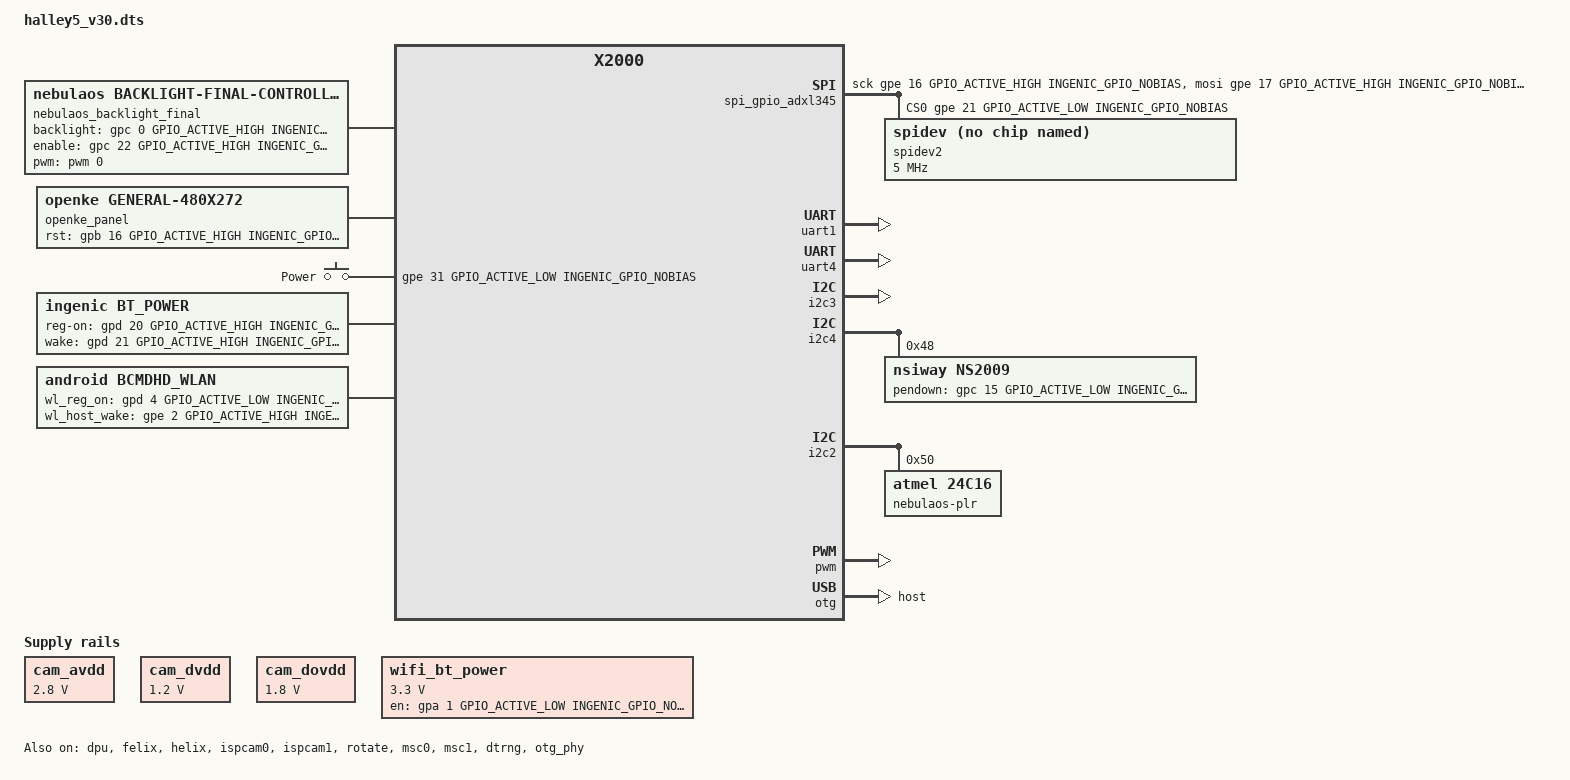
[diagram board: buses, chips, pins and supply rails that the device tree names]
/dts-v1/;

#include <dt-bindings/input/input.h>
#include "x2000.dtsi"
#include <dt-bindings/interrupt-controller/irq.h>
#include <generated/autoconf.h>

#ifdef  CONFIG_RD_X2000_HALLEY5_CAMERA_2V1
#include "halley5_cameras/RD_X2000_HALLEY5_CAMERA_2V1.dtsi"
#elif CONFIG_RD_X2000_HALLEY5_CAMERA_3V2
#ifdef CONFIG_OV4689_1080P_120FPS
#include "halley5_cameras/RD_X2000_HALLEY5_CAMERA_3V2_4LANE.dtsi"
#else
#include "halley5_cameras/RD_X2000_HALLEY5_CAMERA_3V2.dtsi"
#endif
#elif CONFIG_RD_X2000_HALLEY5_CAMERA_4V2
#include "halley5_cameras/RD_X2000_HALLEY5_CAMERA_4V2.dtsi"
#elif CONFIG_RD_X2000_HALLEY5_CAMERA_4V3
#include "halley5_cameras/RD_X2000_HALLEY5_CAMERA_4V3.dtsi"
#elif CONFIG_RD_X2000_HALLEY5_CAMERA_5V0
#include "halley5_cameras/RD_X2000_HALLEY5_CAMERA_5V0.dtsi"
#elif CONFIG_RD_X2000_HALLEY5_CAMERA_6V0
#include "halley5_cameras/RD_X2000_HALLEY5_CAMERA_6V0.dtsi"
#elif CONFIG_RD_X2000_HALLEY5_CAMERA_7V0
#include "halley5_cameras/RD_X2000_HALLEY5_CAMERA_7V0.dtsi"
#elif CONFIG_RD_X2000_HALLEY5_CAMERA_CIM
#include "halley5_cameras/RD_X2000_HALLEY5_CAMERA_cim.dtsi"
#elif CONFIG_HALLEY5_CAMERA_BOARDS_AUTO_MATCH
#include "halley5_cameras/X2000_HALLEY5_CAMERA.dtsi"
#endif

#ifdef CONFIG_STAGE_FW050
#include "halley5_lcd/HALLEY5_MIPI_LCD_FW050.dtsi"
#endif
#ifdef CONFIG_STAGE_ZC50289HSHD02
#include "halley5_lcd/HALLEY5_MIPI_LCD_ZC50289HSHD02.dtsi"
#endif

/ {
	compatible = "ingenic,halley5", "ingenic,x2000";

	reserved-memory {
		#address-cells = <1>;
		#size-cells = <1>;
		ranges =<>;

		reserved_memory: reserved_mem@6000000{
		      compatible = "shared-dma-pool";
		      /* NebulaOS MEM-T01: all memory-region users (felix/helix/
		       * ispcam0/1/rotate) are compiled out (VIDEO_INGENIC_ISP/
		       * ROTATE/VCODEC unset); dpu uses dma_alloc_coherent from the
		       * buddy allocator. A disabled node is skipped by
		       * fdt_scan_reserved_mem() (drivers/of/fdt.c). Re-enable
		       * together with any of those drivers. */
		      status = "disabled";
		      reg-64M = <0x03000000 0x1000000>;
		      reg-128M = <0x06000000 0x2000000>;
		      reg-256M = <0x0e000000 0x2000000>;
		};
	};

		  cam_avdd: cam_regulator_avdd {
			  compatible = "regulator-fixed";
			  regulator-name = "cam_avdd";
			  regulator-min-microvolt = <2800000>;
			  regulator-max-microvolt = <2800000>;
			  regulator-always-on;
			  regulator-boot-on;
		  };
		  cam_dvdd: cam_regulator_dvdd {
			  compatible = "regulator-fixed";
			  regulator-name = "cam_dvdd";
			  regulator-min-microvolt = <1200000>;
			  regulator-max-microvolt = <1200000>;
			  regulator-always-on;
			  regulator-boot-on;
		  };
		  cam_dovdd: cam_regulator_dovdd {
			   compatible = "regulator-fixed";
			   regulator-name = "cam_dovdd";
			   regulator-min-microvolt = <1800000>;
			   regulator-max-microvolt = <1800000>;
			   regulator-always-on;
			   regulator-boot-on;
		  };

		  /* OpenKE (2026-07-22, FIRMWARE.md sec 44): 3 real GPIO-based fixes in a row
		   * (wrong pin -> wrong polarity -> pin stolen by uart4's over-wide mux group)
		   * all left "mmc1: Failed to initialize a non-removable card" byte-identical -
		   * the card never responds at all, at any frequency. Reconsidered the model
		   * itself rather than tuning gpio values further: PA01 (wifi_power_on) is a
		   * shared COMBO-CHIP POWER RAIL per stock's own insmod scripts (soc_msc.sh/
		   * cywdhd.sh - same gpio referenced by both the mmc host module AND the
		   * separate wlan chip module), not a per-card reset/wake line the way gpd4
		   * (WL_REG_ON) is. mmc-pwrseq-simple's reset-gpios models ONE reset concept
		   * toggled as a single unit with one shared delay - it can't express "this
		   * rail needs its own independent ramp-up window before the reset line even
		   * starts toggling". Modeled as its own regulator instead, wired as msc1's
		   * vmmc-supply - a real, actively-checked property in this exact driver
		   * (confirmed: ingenic,sdhci already prints "No vmmc regulator found" when
		   * absent, meaning mmc_regulator_get_supply() is real and already wired into
		   * this SDHCI-ingenic build, not hypothetical). regulator-always-on +
		   * -boot-on (same pattern already used by cam_avdd/cam_dvdd/cam_dovdd above)
		   * gets this GPIO driven to its enabled state at the regulator subsystem's
		   * own early probe, well before mmc1 ever probes - decoupled from pwrseq's
		   * post_power_on delay entirely, since a shared rail's real settling time has
		   * nothing to do with any individual card's reset sequencing. */
		  /* OpenKE (2026-07-22, FIRMWARE.md sec 52): a LIVE read of PA01 on the
		   * real, currently-working, currently-associated stock system -
		   * /sys/kernel/debug/gpio, "gpio-1 (|bt_wifi_power) out lo" - shows raw
		   * LOW during real, active WiFi traffic. This directly confirms
		   * bt_wifi_power_valid_level=0 (cywdhd.ko's own insmod parameter,
		   * always available but never previously verified against a live
		   * read): raw LOW is the real enabled state for this shared rail, not
		   * raw HIGH as GPIO_ACTIVE_HIGH + regulator-always-on/-boot-on below
		   * assumed - the same class of unverified-polarity mistake sec 50 found
		   * and fixed for WL_REG_ON, on the OTHER real GPIO this investigation
		   * has touched, discovered by finally checking stock's own live state
		   * directly instead of inferring from a module-parameter name.
		   * enable-active-high below was always a no-op on this kernel's
		   * drivers/regulator/fixed.c - of_get_fixed_voltage_config() never
		   * reads it, only the gpio cell's own active-flag controls polarity -
		   * removed along with the fix so nothing misleading is left behind. */
		  wifi_bt_power: wifi_bt_power_regulator {
			   compatible = "regulator-fixed";
			   regulator-name = "wifi_bt_power";
			   regulator-min-microvolt = <3300000>;
			   regulator-max-microvolt = <3300000>;
			   gpio = <&gpa 1 GPIO_ACTIVE_LOW INGENIC_GPIO_NOBIAS>;
			   regulator-always-on;
			   regulator-boot-on;
		  };

	/* Post-incident backlight controller redesign (2026-08-02+) -
	 * DISPLAY-B-FINAL kernel-owned exclusive owner of GPC0 (as GPIO
	 * and as PWM channel 0's peripheral function) and the candidate
	 * enable-GPIO PC22. Deliberately does NOT touch the &pwm node's
	 * own pinctrl-0 above (that edit is what caused a real incident -
	 * see nebulaos_backlight_final_controller.c's file header). GPC0's
	 * PWM-function pinmux is instead selected dynamically, only by
	 * this driver's own code, only at the moment pwm-active is
	 * actually entered - the pinctrl-0 group below is named
	 * "pwm-active", deliberately not "default"/"init", so the
	 * device core's automatic pinctrl_bind_pins() never selects it. */
	nebulaos_backlight_final: nebulaos_backlight_final {
		compatible = "nebulaos,backlight-final-controller";
		pwms = <&pwm 0 20000>;
		backlight-gpios = <&gpc 0 GPIO_ACTIVE_HIGH INGENIC_GPIO_NOBIAS>;
		enable-gpios = <&gpc 22 GPIO_ACTIVE_HIGH INGENIC_GPIO_NOBIAS>;
		pinctrl-names = "pwm-active";
		pinctrl-0 = <&pwm0_pc>;
		status = "okay";
	};

	/* Phase 1.9A host-MCU accelerometer/EEPROM bus enablement:
	 * ADXL345 (spi_bus: spidev2.0 in printer.cfg) is NOT wired to a real
	 * Ingenic hardware SPI controller on this board at all - pulled and
	 * decoded the real stock device's own live /sys/firmware/fdt and found
	 * stock reaches it through the standard mainline spi-gpio bitbang
	 * driver instead, with a generic spidev placeholder child exposing it
	 * as a plain character device (exactly what Klipper's own MCU SPI
	 * backend expects - it talks to the sensor directly, no in-kernel
	 * ADXL345 driver needed). GPIO pin assignments (gpe16/17/18/21) and the
	 * "rohm,dh2228fv" placeholder compatible string are copied verbatim
	 * from that same live dump, not guessed. Requires CONFIG_SPI_GPIO=y. */
	aliases {
		/* Pins this bit-banged bus to bus number 2, exactly matching
		 * stock's own "spi2 = /spi_gpio" alias - without this, Linux
		 * would assign whatever bus number registration order happens
		 * to produce, and Klipper's spi_bus: spidev2.0 (hardcoded to
		 * this exact path) would not find the device.
		 *
		 * Deliberately named spi_gpio_adxl345, NOT spi_gpio: this base
		 * board file already has an unrelated, pre-existing, disabled
		 * "/spi_gpio" node further down (gpb 28-31, spidev1@0 - the
		 * already-documented FACTORY_TEST_DEVICE placeholder). A node
		 * declared here with that same bare name would silently merge
		 * with it instead of creating a separate node (found live: our
		 * first attempt at this had its pin numbers and status
		 * overwritten by that later block). The alias only cares where
		 * it points, not what the node is named, so giving this one
		 * its own distinct name avoids the collision entirely without
		 * touching the untouched, already-disabled factory node. */
		spi2 = "/spi_gpio_adxl345";
	};

	spi_gpio_adxl345 {
		status = "okay";
		compatible = "spi-gpio";
		#address-cells = <1>;
		#size-cells = <0>;
		/* This SoC's ingenic,pincfg-cells binding is 3 cells after the
		 * phandle (pin, flags, pull-config) - found live via a dtc
		 * "property size too small for cell size 3" warning on an
		 * earlier attempt, which only had 2.
		 *
		 * Polarity fix (Phase 1.9A SPI Polarity Fix Investigation):
		 * stock's raw live-dumped values used flags=0x01
		 * (GPIO_ACTIVE_LOW) on ALL FOUR lines, copied verbatim into an
		 * earlier attempt here - that produced device probe success
		 * (spidev2.0 exists, transactions happen) but garbled reads
		 * (ACCELEROMETER_QUERY: "Invalid adxl345 id", wrong DEVID,
		 * changing with speed rather than a clean timeout).
		 * Source-verified root cause: this kernel's spi-gpio.c
		 * (drivers/spi/spi-gpio.c, the modern Linus Walleij gpiod
		 * rewrite) calls gpiod_set_value_cansleep()/
		 * gpiod_get_value_cansleep() for sck/mosi/miso exactly the
		 * same way it does for cs - meaning ANY of the four declared
		 * GPIO_ACTIVE_LOW gets transparently inverted by gpiod before
		 * the bitbang core (spi-bitbang-txrx.h) ever sees it. The
		 * bitbang core assumes non-inverted 1=high/0=low semantics
		 * for the clock and data lines - stock's raw flags value was
		 * almost certainly written for an older, non-gpiod (raw
		 * gpio_set_value) spi-gpio implementation that likely never
		 * consulted the active-low flag for sck/mosi/miso at all,
		 * only for cs (the one line every spi-gpio generation has
		 * always treated specially, since chip-select genuinely needs
		 * "asserted" semantics). Fix: sck/mosi/miso are plain,
		 * non-inverted output/input lines here - GPIO_ACTIVE_HIGH.
		 * cs-gpios keeps ACTIVE_LOW, both because that matches stock's
		 * raw value AND because the ADXL345 (like the overwhelming
		 * majority of SPI slaves) is genuinely chip-select-active-low
		 * in hardware. Pull-config (INGENIC_GPIO_NOBIAS) is unchanged
		 * on all four - unrelated to this bug.
		 *
		 * Property names: sck-gpios/mosi-gpios/miso-gpios (not the
		 * legacy gpio-sck/gpio-mosi/gpio-miso form used by an earlier
		 * attempt here) - confirmed from source
		 * (drivers/spi/spi-gpio.c's own probe:
		 * devm_gpiod_get(dev, "sck", ...) etc, which resolves the
		 * "<name>-gpios" convention). The legacy names still worked
		 * (some fallback in the OF GPIO core resolved them), but the
		 * modern names are what this driver actually asks for. */
		sck-gpios = <&gpe 16 GPIO_ACTIVE_HIGH INGENIC_GPIO_NOBIAS>;
		miso-gpios = <&gpe 18 GPIO_ACTIVE_HIGH INGENIC_GPIO_NOBIAS>;
		mosi-gpios = <&gpe 17 GPIO_ACTIVE_HIGH INGENIC_GPIO_NOBIAS>;
		cs-gpios = <&gpe 21 GPIO_ACTIVE_LOW INGENIC_GPIO_NOBIAS>;
		num-chipselects = <1>;

		spidev2: spidev@0 {
			status = "okay";
			compatible = "rohm,dh2228fv";
			reg = <0>;
			spi-max-frequency = <5000000>;
		};
	};
};

/* OpenKE (2026-07-23): was status="okay" with pinctrl-0 = <&uart0_pd> (gpd 23-26), which
 * hard-conflicts with msc0_8bit (gpd 17-26) - the real eMMC boot storage, already confirmed
 * essential above. dmesg showed "pin GPD-23 already requested by 13450000.msc; cannot claim
 * for 10030000.serial" every boot; msc0 always wins the pin so nothing actually broke, but
 * nothing in this project uses uart0 either (unlike uart1/uart3/uart4, all documented real
 * links above) - disabling it outright removes the conflict instead of just tolerating it. */
&uart0 {
	status = "disable";
};

/* OpenKE (2026-07-21, FIRMWARE.md sec 43): real, confirmed gap - this board file never
 * referenced &uart1 at all, unlike every other uart actually in use here. Klipper's own
 * printer.cfg confirms /dev/ttyS1 is the real serial link to the printer's mainboard MCU
 * ([mcu] serial:/dev/ttyS1, vendor/device-backups/printer_data_config/printer.cfg) - the
 * base x2000.dtsi leaves uart1 with no explicit status property at all (defaults to
 * enabled per devicetree spec), but without this pinctrl assignment the physical TX/RX
 * pins were never actually muxed to the UART1 function, only the controller itself being
 * nominally "on".
 *
 * OpenKE (2026-07-23, stock-parity audit): the fix above used x2000-pinctrl.dtsi's own
 * uart1_pc (gpc 21-24, a 4-pin TX/RX/RTS/CTS group - the SoC vendor SDK's only defined
 * uart1 group) on the assumption it was the sole option. Live evidence disproved that:
 * pulled and decoded the real, running stock device's own live pinctrl debugfs
 * (artifacts/parity/stock/42-debugfs-pinctrl-pinmux-pins.txt) and stock's uart1 only ever
 * claims gpc 23-24 (2 pins, TX/RX only) - gpc 21/22 are never touched by uart1 on stock.
 * Worse, gpc 21 is a REAL, ACTIVE conflict on custom: simultaneously claimed by uart1's
 * alt-function *and* by lcd_vdd_en (the LCD power-enable line) as a plain GPIO output,
 * confirmed from the same live boot's own debugfs GPIO capture
 * (artifacts/parity/custom/40-debugfs-gpio.txt). Harmless so far only because Klipper's
 * MCU protocol doesn't use hardware flow control - not because the conflict isn't real.
 * uart1_pc_txrx below is a board-local 2-pin group (gpc 23-24 only, same FUNCTION1 mux
 * value as uart1_pc) matching stock's real, narrower wiring exactly - see
 * docs/PIN_OWNERSHIP_MAP.md and docs/PRINTER_MAINBOARD_PRECONNECTION_CHECKLIST.md. The
 * printer mainboard was never connected for any of this - pinmux/live-pin-state audit
 * only, real MCU handshake still untested. */
&uart1_pin {
	uart1_pc_txrx: uart1-pc-txrx {
		ingenic,pinmux = <&gpc 23 24>;
		ingenic,pinmux-funcsel = <PINCTL_FUNCTION1>;
	};
};

&uart1 {
	status = "okay";
	pinctrl-names = "default";
	pinctrl-0 = <&uart1_pc_txrx>;
};

&uart2 {
	status = "disable";
};

/* 2026-07-23 (final cleanup mission, Phase 3, Path A): status flipped to
 * "disabled". The pin-sharing analysis below stands unchanged and is the
 * reason this is a clean disable rather than a real fix - i2c4/touch always
 * wins the GPC-25/26 race (confirmed every boot), so this node was
 * unconditionally, guaranteedly going to fail its own pinctrl apply, every
 * single boot, forever, in its previous "okay" state. That's real, avoidable
 * noise ("pin GPC-25 already requested by 10054000.i2c; cannot claim for
 * 10033000.serial", "Error applying setting, reverse things back") for a
 * node that was never going to succeed anyway - not a case of "might work
 * this time." Disabling it doesn't lose anything: BT never worked over this
 * node regardless of its status here. Preserved in full below for whoever
 * eventually implements the real fix (stock's own dynamic runtime pin
 * hand-off, not a static devicetree change) - see docs/BOOT_WARNING_AUDIT.md.
 */
&uart3 {
	status = "disabled";
	pinctrl-names = "default";
	pinctrl-0 = <&uart3_pc>;

	/* Real Ender 3 V3 KE hardware: BCM4343A1 WiFi+BT combo chip's BT side,
	 * confirmed live on /dev/ttyS3 via Creality's own bt_enable_bsa.sh
	 * (see FIRMWARE.md). uart3_pc is a 2-pin (TX/RX only) pinmux group -
	 * this board has no hardware RTS/CTS wired for this UART, confirmed
	 * against x2000-v12-pinctrl.dtsi's uart3_pd (4-pin) alternative not
	 * being used here - the real reason Creality used H5 instead of H4,
	 * and why this node uses our own openke,bcm4343x-bt H5 vendor glue
	 * (drivers/bluetooth/hci_h5.c) rather than the H4-only upstream
	 * Broadcom path. No enable-gpios property: no dedicated BT reset/
	 * enable pin has been confirmed live (only the shared WiFi-side
	 * regulator/reset in &msc1's wlan_pwrseq below is confirmed) - the
	 * driver treats this as optional and skips GPIO toggling if absent.
	 *
	 * OpenKE (2026-07-23): uart3_pc (gpc 25-26) is the SAME two physical pins
	 * as i2c4_pc (&i2c4 below, real touchscreen bus) - confirmed by resolving
	 * both pinctrl phandles in the real stock device's own live DTB: identical
	 * <bank 25 26>, only the funcsel differs (uart3 FUNCTION0 vs i2c4 FUNCTION1).
	 * Stock's own DTB has this exact same dual-claim on both nodes - this is a
	 * genuine hardware pin-sharing design, not a bug in this file. Since both
	 * this node and &i2c4 are statically "okay" here, whichever driver probes
	 * first wins the pin permanently (currently i2c4/touch, confirmed via
	 * dmesg: "pin GPC-25 already requested by 10054000.i2c; cannot claim for
	 * 10033000.serial"), and this uart3 node's own pinctrl apply silently
	 * fails - BT will not actually work over these pins while touch is active.
	 * Stock resolves this by dynamically re-muxing at runtime when the user
	 * actually invokes bt_enable_bsa.sh (releasing i2c4's claim first), not by
	 * having both statically enabled at boot the way this file does. Properly
	 * supporting BT here needs the same kind of runtime pin hand-off, not a
	 * static devicetree change - moving this project's &i2c4 to its i2c4_pd
	 * alternate (gpd 0-1) was considered and rejected: stock's real DTB never
	 * references i2c4_pd, only i2c4_pc, so there's no confirmation those
	 * alternate pins are physically wired to the NS2009 touch chip on this
	 * board - moving it would risk silently breaking the touchscreen (a
	 * confirmed, load-bearing peripheral) to maybe fix BT (never confirmed
	 * working against real mainboard hardware at all). Left as-is; touch wins,
	 * BT stays a known, real, unfixed limitation until someone implements the
	 * dynamic hand-off. */
	bluetooth {
		compatible = "openke,bcm4343x-bt";
	};
};

/* Console UART. Had no override at all before 2026-07-20 - uart4 defaults to
 * status="disabled" in x2000.dtsi, meaning console=ttyS4 in the kernel cmdline
 * would have produced zero output on real hardware. pinctrl-0 confirmed
 * against the real device's own live device tree (pulled via
 * /sys/firmware/fdt, decompiled with dtc) - the stock board's uart4 uses
 * pinctrl group uart4-pa, physical pins PA2/PA3. This tree's own uart4_pa
 * (gpa 0-3) is a superset covering the same two pins, so no new pinctrl node
 * was needed, just this missing board-level override. */
&uart4 {
	status = "okay";
	pinctrl-names = "default";
	pinctrl-0 = <&uart4_pa>;
};

&cpufreq {
	status = "okay";
	operating-points = <
		/*KHZ uV */
		1200000	900000
		750000	900000
		600000	900000
		500000	900000
		400000	900000
		375000	900000
		300000	900000
		200000	900000
			>;

};
/**pm faseboot use**/
/*
&pm {
	status = "disable";

	console_idx = <3>;
	mcu_uart_idx = <8>;
	mcu_uart_baud = <9600>;

	pinctrl-names ="mcu_uart8";
	pinctrl-0 = <&uart8_pb>;
};
*/

/* Real, safety-relevant fix (found while answering a hardware question about
 * connecting to the J1 UART header, 2026-07-20): this was GPIO_VOLTAGE_1V8,
 * but the real device's own live device tree (pulled via /sys/firmware/fdt
 * earlier this project) shows Port A is actually provisioned for 3.3V
 * (ingenic,gpa_voltage = <0x02> = GPIO_VOLTAGE_3V3, decoded from the real
 * enum in ingenic-gpio.h). A voltage-domain mismatch on this bank is a
 * plausible (not confirmed) contributor to the first real boot attempt's
 * early failure - independent of that, it's simply wrong for the real
 * hardware and needed fixing regardless. */
&pinctrl {
	ingenic,gpa_voltage = <GPIO_VOLTAGE_3V3>;
};

&i2c3 {
	status = "okay";
};

&i2c4 {
	/* Real Ender 3 V3 KE hardware: NS2009 resistive touch controller lives here
	 * (confirmed live via /sys/bus/i2c/devices/4-0048/name on the real printer).
	 * The reference v30 board disables this bus; our board customization needs it. */
	status = "okay";
	/* OpenKE (2026-07-20, FIRMWARE.md sec 32): pinctrl-0 was missing entirely here - the
	 * base x2000.dtsi's own i2c4 node has none either, and this override never added one.
	 * Found by pulling and decoding the real stock device's own live /sys/firmware/fdt: its
	 * i2c4 node references a real "i2c4-pc" pinmux group - which already exists in our own
	 * x2000-pinctrl.dtsi as i2c4_pc, just never wired up. Without this, the bus may not
	 * actually be muxed to the real physical pins at all - same class of bug as msc0 above. */
	pinctrl-names = "default";
	pinctrl-0 = <&i2c4_pc>;

	ns2009@48 {
		compatible = "nsiway,ns2009";
		reg = <0x48>;
		/* ke-mainline-klipper touch mission: the upstream ns2009.c driver
		 * gates touch detection purely on the Z1 pressure ADC channel
		 * (>=80 threshold), which was proven live (temporary
		 * pr_info_ratelimited instrumentation) to read exactly 0 on every
		 * poll on this real board, regardless of touch state - the pure
		 * software-polling approach never detects a press.
		 *
		 * Stock's closed ns2009_touch.ko uses a completely different,
		 * interrupt-driven architecture instead (devm_request_threaded_irq,
		 * confirmed via disassembly symbols ns2009_hard_irq/ns2009_soft_irq,
		 * and a real "Unbalanced enable for IRQ 74" kernel warning seen
		 * live during stock's own ns2009_open()). Its I2C read commands
		 * for X/Y (0xc0/0xd0) are byte-identical to this driver's, proven
		 * via relocation-verified disassembly of stock's own soft-irq
		 * handler - so the coordinate read path itself is not in question,
		 * only how a press is detected in the first place.
		 *
		 * This exact GPIO was identified the same way, not guessed:
		 * disassembly of stock's addirq() function shows a proven
		 * relocation-confirmed call chain `gpio_to_desc(79)` ->
		 * `gpiod_to_irq()` -> `devm_request_threaded_irq()`. Raw GPIO 79
		 * decodes to GPIOC pin 15 under this project's own established
		 * bank*32+pin convention (confirmed elsewhere via GPIO85=PC21).
		 * A live register snapshot during a real, confirmed touch did not
		 * show a level change on this pin - inconclusive, not
		 * disconfirming: a single devmem snapshot over SSH can easily miss
		 * a brief edge pulse, which is exactly what an interrupt-driven
		 * design would produce. Physically validate this change before
		 * keeping; revert if it doesn't fix real touch input. */
		pendown-gpios = <&gpc 15 GPIO_ACTIVE_LOW INGENIC_GPIO_NOBIAS>;
	};
};

&i2c2 {
	/* Phase 1.9A host-MCU accelerometer/EEPROM bus enablement:
	 * the physical BL24C16F EEPROM is wired here on the real Ender 3 V3
	 * KE, physically identical hardware to i2c4/touch above. Pulled and
	 * decoded the real stock device's own live /sys/firmware/fdt -
	 * stock's own i2c2 node is disabled with no pinctrl (it evidently
	 * reaches this bus through a different, proprietary path, not this
	 * standard in-tree driver), but the i2c2-pb pinmux group already
	 * exists unused in our own x2000-pinctrl.dtsi, exactly mirroring the
	 * i2c4-pc fix below.
	 *
	 * Phase 1.9B production EEPROM owner change: the eeprom@50 child
	 * node below is the Linux 6.6 in-tree at24/nvmem driver, NOT
	 * [bl24c16f] (which owned this same chip directly over
	 * i2c_mcu:rpi/i2c-chardev in Phase 1.9A and is retired from
	 * production use as of Phase 1.9B - see machine.cfg and
	 * nebulaos_power_loss_recovery.py). The BL24C16F is electrically
	 * and functionally an Atmel 24C16 - same 2048 bytes, same 16-byte
	 * write page, same 8-bit internal address split across 8 I2C slave
	 * addresses (0x50..0x57) - so the exact, unmodified upstream
	 * "atmel,24c16" compatible string and binding apply verbatim; no
	 * newer "belling,bl24c16f" compatible name or kernel upgrade is
	 * needed. Source-verified against this exact kernel's own
	 * drivers/misc/eeprom/at24.c: CONFIG_EEPROM_AT24 depends on I2C &&
	 * SYSFS (both already satisfied) and selects NVMEM/NVMEM_SYSFS/
	 * REGMAP/REGMAP_I2C automatically; "pagesize"/"address-width"/
	 * "size"/"num-addresses" are exactly the device_property_read_u32()
	 * names this driver's own at24_probe() parses. Resulting userspace
	 * interface: /sys/bus/i2c/devices/2-0050/eeprom (the reg = <0x50>
	 * address below, on i2c bus 2). CONFIG_I2C_CHARDEV is dropped from
	 * the Kconfig fragment below in this same Phase 1.9B change - at24
	 * is a real kernel driver (binds to the i2c_client directly, no
	 * /dev/i2c-* character device involved), and with [bl24c16f]
	 * retired, nothing else on this board's i2c_mcu:rpi bus needs
	 * /dev/i2c-* chardev access any more (ADXL345 is SPI, not I2C). */
	status = "okay";
	pinctrl-names = "default";
	pinctrl-0 = <&i2c2_pb>;

	eeprom@50 {
		/* Physical page 0 (bytes 0..15) is reserved for stock
		 * Creality's own PLR checkpoint-slot-pointer/enabled-state
		 * bytes - nebulaos_plr_journal.py (NebulaOS-klipper-extensions)
		 * never reads or writes that page, only pages 1..127. */
		compatible = "atmel,24c16";
		reg = <0x50>;
		pagesize = <16>;
		size = <2048>;
		address-width = <8>;
		num-addresses = <8>;
		label = "nebulaos-plr";
	};
};

/* Real Ender 3 V3 KE display (480x272, confirmed live via
 * /sys/class/graphics/fb0/modes on the real printer) - see
 * displays/panel-openke-general-480x272.c for the panel driver and the real
 * caveats (timing values are a best-effort default, not read from a datasheet
 * for this exact panel). The reference board doesn't wire up a plain-RGB panel
 * at all by default (only the MIPI examples above are ever #include'd). */
&dpu {
	status = "okay";
};

/ {
	openke_panel: openke_panel {
		compatible = "openke,general-480x272";
		/* GPIO roles + pin numbers confirmed live on the real device via
		 * /sys/module/lcd_general_480x272/parameters/{gpio_lcd_power_en,gpio_lcd_rst}
		 * (PC21, PB16).
		 *
		 * ingenic,vdd-en-gpio (PC21) deliberately omitted - real, live,
		 * stock-parity evidence (not a guess): with the exact real
		 * lcd_general_480x272.ko loaded and lcd_is_inited=1 (display
		 * genuinely working, confirmed visually), stock's own live GPIO
		 * state for this exact pin is input, reading low - stock never
		 * holds it as a driven output in its steady state, unlike this
		 * driver's previous unconditional gpio_direction_output(..., 1)
		 * at probe with no release. This DT node omitting the property
		 * is what makes panel-openke-general-480x272.c's own existing
		 * gpio_is_valid() guards skip requesting/driving it at all,
		 * matching stock's observed hands-off steady state exactly - not
		 * a polarity change, a real ownership-parity test.
		 */
		ingenic,rst-gpio = <&gpb 16 GPIO_ACTIVE_HIGH INGENIC_GPIO_NOBIAS>;
	};
};


&felix {
	status = "okay";
	memory-region=<&reserved_memory>;
};

&helix {
	status = "okay";
	memory-region=<&reserved_memory>;
};

&ispcam0 {
	status = "okay";
	memory-region=<&reserved_memory>;
};

&ispcam1 {
	status = "okay";
	memory-region=<&reserved_memory>;
};

&rotate {
	status = "okay";
	memory-region=<&reserved_memory>;
};

&pdma {
	status = "okay";
};

&msc0 {
	/* OpenKE (2026-07-20, FIRMWARE.md sec 31/32): this is the real eMMC - confirmed by pulling
	 * the actual live stock device's own /sys/firmware/fdt and decoding it with dtc. Stock has
	 * this exact node (0x13450000) status="okay", 8-bit bus, mmc-hs200-1_8v, 100MHz,
	 * non-removable - while msc1 (WiFi/SDIO) and msc2 (SD slot) are BOTH disabled on stock's own
	 * DTB. This board file had it backwards: msc0 disabled (as a 4-bit, no-pinctrl template) while
	 * msc2 (actually the SD card slot - has cd-gpio/wp-gpio/sd-uhs-sdr104, all SD-slot-only
	 * properties) was left enabled instead. This is why the real xImage boot test (sec 31) got
	 * all the way into userspace init but then hung forever at "Waiting for root device
	 * /dev/mmcblk0p8..." - msc2's controller registered fine (it's a real, working SDHCI
	 * instance) but had no eMMC card to attach, since the actual storage sits on msc0, which was
	 * never even probed. pinctrl-0 = <&msc0_8bit> (real phandle, resolved from the live DTB's own
	 * pinctrl-0 = <0x13>) was also completely missing before - msc1/msc2 both had one, msc0 had
	 * none at all.
	 */
	status = "okay";
	pinctrl-names = "default";
	pinctrl-0 = <&msc0_8bit>;
	mmc-hs200-1_8v;
	cap-mmc-highspeed;
	non-removable;
	max-frequency = <100000000>;
	bus-width = <8>;
	voltage-ranges = <1800 3300>;

	/* special property */
	ingenic,wp-gpios = <0>;
	ingenic,cd-gpios = <0>;
	ingenic,rst-gpios = <0>;
};

&msc1 {
	status = "okay";
	/* OpenKE (2026-07-22, FIRMWARE.md sec 52): reverted back to the base "ingenic,sdhci"
	 * compatible (sdhci-ingenic.c) - sec 47's "wrong driver entirely" finding was itself
	 * wrong. Disassembled the real, live, WORKING soc_msc.ko off the stock device (not
	 * just cywdhd.ko this time) and its own symbol table proves stock's msc1 driver IS
	 * sdhci-ingenic.c: real sdhci_ingenic_probe/sdhci_ingenic_set_clock/
	 * sdhci_ingenic_power_set symbols, calling genuine sdhci_add_host()/sdhci_reset(),
	 * PLUS real exported jzmmc_clk_ctrl/jzmmc_manual_detect symbols - proving this
	 * driver family DOES support manual detection on stock, contrary to the sec 47
	 * assumption. Confirmed our own sdhci-ingenic.c already has the matching
	 * architecture: cd_type==SDHCI_INGENIC_CD_PERMANENT (from the "non-removable"
	 * property below) sets MMC_CAP_NONREMOVABLE + SDHCI_QUIRK_BROKEN_CARD_DETECTION at
	 * probe time, and sdhci_ingenic_mmc_manual_detect() (renamed from
	 * ingenic_mmc_manual_detect in sec 47, exported, in manual_list unconditionally)
	 * flips SDHCI_DEVICE_DEAD and calls mmc_detect_change() - the real, same mechanism
	 * stock uses. ingenic_mmc.c (sec 47-51's whole investigation) was never stock's
	 * actual msc1 driver at all - it's a different, unrelated Ingenic MSC-register-model
	 * driver that happens to also export functions named jzmmc_manual_detect/
	 * jzmmc_clk_ctrl, which is what caused the original misdirection once cywdhd.ko's
	 * disassembly turned up those two names. */
	compatible = "ingenic,sdhci";
	/* OpenKE (2026-07-22, FIRMWARE.md sec 44): 4 real fixes to the reset/power gpios
	 * (wrong pin, wrong polarity, pin stolen by uart4's mux group, wrong power model)
	 * all left "mmc1: Failed to initialize a non-removable card" byte-identical -
	 * confirmed via a decompiled build-output .dtb that every one of those fixes DID
	 * compile in correctly, so the bug was never "did the change apply", something
	 * else was still missing. rtc32k_enable/rtc32k_disable (x2000-pinctrl.dtsi) mux
	 * gpe23 to either its real clock-output function (PINCTL_FUNCTION0) or a forced
	 * GPIO-low state (PINCTL_FUNCLOLVL) - a real, physical 32kHz reference clock
	 * pin, almost certainly shared with the WiFi/BT combo chip's own sleep clock
	 * (the vendor's own out-of-tree ingenic_sdio.c has a whole rtc32k_enable()/
	 * atomic-refcounted mechanism built around this exact pin, called specifically
	 * from its wlan power-on path - a real, physical precondition, not incidental).
	 * "default" (pinctrl-0, auto-selected by the driver core with zero driver code
	 * needed, before sdhci-ingenic's own probe() even runs) had rtc32k_disable
	 * bundled into it - the clock was being forced OFF automatically at every boot,
	 * and nothing in this build's mainline brcmfmac path (unlike the vendor's own
	 * bcmdhd path we deliberately don't use) ever selects the "enable" state
	 * instead. If the chip genuinely needs this clock running to respond to
	 * anything at all, this alone would explain zero response regardless of every
	 * reset/power gpio being individually correct. */
	/* OpenKE (2026-07-22, FIRMWARE.md sec 48): pinctrl-0 above used to also include
	 * <&rtc32k_enable> (sec 45's fix for the "clock forced off at boot" theory) - but
	 * stock's own real reference devicetree (vendor/x2000_kernel, the genuine 4.94 SDK
	 * source stock was actually built from, as opposed to guessing) has pinctrl-0 =
	 * <&msc1_4bit> ONLY, with rtc32k_enable/disable used exclusively via the dynamic
	 * pinctrl-1/pinctrl-2 states, switched at runtime by actual rtc32k_enable()/
	 * rtc32k_disable() function calls, never forced into the default/boot state. Real,
	 * source-verified divergence, not a guess - reverted to match. sd-uhs-sdr104 and the
	 * two "special property" ingenic,*-gpios placeholders below are also copied verbatim
	 * from that same real reference node for exact fidelity. */
	pinctrl-names ="default","enable", "disable";
	pinctrl-0 = <&msc1_4bit>;
	pinctrl-1 = <&rtc32k_enable>;
	pinctrl-2 = <&rtc32k_disable>;

	sd-uhs-sdr104;
	cap-sd-highspeed;
	cap-sdio-irq;
	max-frequency = <100000000>;
	bus-width = <4>;
	voltage-ranges = <1800 3300>;
	non-removable;
	vmmc-supply = <&wifi_bt_power>;

	ingenic,sdio_clk = <1>;
	keep-power-in-suspend;
	ingenic,sdr-gpios = <0>;
	ingenic,rst-gpios = <0>;
	ingenic,removal-manual;

	/* OpenKE (2026-07-21, FIRMWARE.md sec 44): gpd 1 / gpd 0 below were WRONG - not a
	 * guess, a confirmed hardware fact. Extracted stock's own out-of-tree module-loading
	 * scripts (module_driver/soc_msc.sh, cywdhd.sh) from a real full-disk backup
	 * (nebula_system_backup.bin's rootfs partition) and read the vendor's own insmod
	 * parameters verbatim: wifi_reg_on=PD04 (port D pin 4, NOT pin 1), and
	 * gpio_wlan_wake_host=PE02 (port E pin 2) - independently cross-confirmed against
	 * this exact board's own stock-boot-reference-log.txt line
	 * "[clooney]dhd_init_gpio_wlan_hostwake: WL_HOST_WAKE=130" (port E is the 5th gpio
	 * chip, index 4: 4*32+2 = 130, exact match). There is also a THIRD gpio these scripts
	 * reference that had no equivalent anywhere in this file at all: wifi_power_on /
	 * gpio_bt_wifi_power = PA01 (port A pin 1), a separate shared power-rail enable for
	 * the combo chip.
	 *
	 * OpenKE (2026-07-22): pin numbers alone (real-hardware tested) did NOT fix WiFi -
	 * identical "Failed to initialize a non-removable card" persisted. Root cause: the
	 * active-flag polarity below was backwards. Traced drivers/mmc/core/pwrseq_simple.c's
	 * actual logical sequence: pre_power_on() sets the gpio array to logical 1 (asserted/
	 * held-off), post_power_on() sets logical 0 (released) THEN sleeps - the chip is
	 * expected to be truly enabled at logical-0, since that's the state held throughout
	 * actual SDIO enumeration. GPIO_ACTIVE_HIGH means logical value == physical level
	 * (no inversion); GPIO_ACTIVE_LOW inverts. The vendor's own insmod params give the
	 * real enable level per pin - or so this reasoning assumed from the module
	 * parameter *names* alone, without ever disassembling the real driver to check.
	 *
	 * OpenKE (2026-07-22, FIRMWARE.md sec 50): that assumption was wrong. Disassembling
	 * stock's actual, live cywdhd.ko (bcm_wlan_power_on()/bcm_wlan_power_off()) shows
	 * the real instruction sequence writes raw GPIO value 1 (physical HIGH) as the
	 * enabled state on gpd 4/WL_REG_ON, and raw 0 (LOW) as held/reset - the opposite of
	 * what "wifi_reg_on_level=0" was assumed to mean here. gpd 4 below is fixed to
	 * GPIO_ACTIVE_LOW (so post_power_on's logical-0 release lands on the real,
	 * disassembly-proven physical-HIGH enabled state) - see the reset-gpios comment
	 * for the full trace. */
	/* OpenKE (2026-07-22, FIRMWARE.md sec 51): moved WL_REG_ON out of
	 * mmc-pwrseq-simple entirely - sec 50's live instrumentation proved
	 * mmc_power_up() genuinely runs pwrseq's full pre/post_power_on sequence
	 * (power_mode transitions 0->2) with the descriptor confirmed correctly
	 * flagged ACTIVE_LOW, yet the physical pin never reached raw HIGH -
	 * mmc_pwrseq_simple's own GPIO-array write path
	 * (mmc_pwrseq_simple_set_gpios_value()/gpiod_set_array_value_cansleep())
	 * isn't reaching the pin on this platform. Rather than debug that generic
	 * framework further, sdhci-ingenic.c now acquires and drives this GPIO
	 * directly via "wlan-reg-on-gpios" below, using raw GPIO calls
	 * (gpiod_set_raw_value_cansleep(), never gpiod_set_value_cansleep()) so no
	 * descriptor active-flag translation can invert stock's real, disassembly-
	 * proven sequence: raw LOW (held/reset) -> 100ms -> raw HIGH (enabled) ->
	 * detect immediately - see ingenic_mmc_manual_detect() in sdhci-ingenic.c.
	 * The active flag on this property is documentation only, not load-
	 * bearing, since every access is raw. */
	wlan-reg-on-gpios = <&gpd 4 GPIO_ACTIVE_HIGH INGENIC_GPIO_NOBIAS>;

	bcmdhd_wlan: bcmdhd_wlan {
		 compatible = "android,bcmdhd_wlan";
		 gpio_wl_reg_on = <&gpd 4 GPIO_ACTIVE_LOW INGENIC_GPIO_NOBIAS>;
		 gpio_wl_host_wake = <&gpe 2 GPIO_ACTIVE_HIGH INGENIC_GPIO_NOBIAS>;
	};
};


&msc2 {
	status = "okay";
	pinctrl-names ="default";
	pinctrl-0 = <&msc2_4bit>;
	sd-uhs-sdr104;
	/*cap-mmc-highspeed;*/
	max-frequency = <200000000>;
	bus-width = <4>;
	voltage-ranges = <1800 3300>;

	/* special property */
	cd-gpio = <&gpc 12 GPIO_ACTIVE_LOW INGENIC_GPIO_NOBIAS>;
	wp-gpio = <0>;
	ingenic,sdr-gpio = <&gpc 0 GPIO_ACTIVE_HIGH INGENIC_GPIO_NOBIAS>;
	ingenic,rst-gpio = <0>;
};

/* OpenKE (2026-07-23, stock-parity audit): disabled - inherited Halley5
 * reference-board MSC2/microSD config with no evidence it belongs on this
 * board. Stock's own live device tree never enables msc2 at all (Phase 1/2
 * runtime and DTB comparison, docs/DTB_PARITY_REPORT.md); no physical SD
 * slot has been identified on the Nebula Pad PCB; and its ingenic,sdr-gpio
 * property above claims &gpc 0 - the exact same pin pwm0_pc uses for its
 * only real PWM alternate function on this SoC, and the same pin stock's
 * own live GPIO dump labels backlight_pwm0. Confirmed real, not
 * speculative: driven as a plain GPIO output HIGH by msc2 on every custom
 * boot before this fix, with no separate backlight_pwm0 GPIO claim
 * present at all (docs/PIN_OWNERSHIP_MAP.md). This override (a later
 * &msc2 block always wins over the earlier one's status for the same
 * property) turns the controller off without deleting the reference
 * node's properties, so the real pin numbers stay documented in one place
 * if a genuine microSD slot is ever confirmed on a future board
 * revision. */
&msc2 {
	/* OpenKE (2026-07-23): "disabled" is the real devicetree-spec value
	 * (along with "okay"/"fail"/"fail-sss") - "disable" elsewhere in this
	 * file (uart0, uart2, spi0, nemc, ...) is pre-existing, non-canonical,
	 * and still functions correctly under this kernel's own
	 * of_device_is_available() check (anything != "okay" is unavailable),
	 * but this node is new enough this session to just use the correct
	 * value outright rather than copy a convention worth fixing on its
	 * own, unrelated to MSC2. */
	status = "disabled";
};

&nemc {
	status = "disable";
	pinctrl-names = "default";
	pinctrl-0 =<&nemc_pb>, <&nemc_pc>;
};


/* 2026-07-23 (boot-cleanup audit): no RJ45/wired-Ethernet port exists on Nebula
 * Pad - this node is inherited reference-design boilerplate. Its own
 * ingenic,rst-gpio (GPB-16) collides with lcd_rst, which already owns that
 * pin for the display (confirmed live: gpio-48 "lcd_rst" out hi) - the real,
 * populated consumer. Boot log showed "MII Probe failed"/"no PHY found",
 * consistent with no PHY chip being present at all. Disabled rather than
 * left enabled-but-failing; see docs/BOOT_WARNING_AUDIT.md.
 */
&mac1 {
	pinctrl-names = "default", "reset";
	pinctrl-0 = <&mac1_rgmii_p0_normal>, <&mac1_rgmii_p1_normal>;
	pinctrl-1 = <&mac1_rgmii_p0_rst>, <&mac1_rgmii_p1_normal>;
	status = "disabled";
	ingenic,rst-gpio = <&gpb 16 GPIO_ACTIVE_LOW INGENIC_GPIO_NOBIAS>;
	ingenic,rst-ms = <10>;
	ingenic,rst-delay-ms = <15>;
	ingenic,mac-mode = <RGMII>;
	ingenic,mode-reg = <0xb00000e8>;
	ingenic,rx-clk-delay = <0x0>;
	ingenic,tx-clk-delay = <0x3f>;
	/*force mac mode*/
	/*
	ingenic,mac-force = <MAC_ON>;
	ingenic,mac-autoneg = <MAC_ON>;
	ingenic,mac-speed = <MAC_SPEED_1000M>;
	ingenic,mac-duplex = <MAC_DUPLEX_HALF>;
	ingenic,no_phy_connect;
	*/
};

/* 2026-07-23 (boot-cleanup audit, Phase 9): disabled - "unknown flash type" /
 * probe failure -22 on every boot, on both stock and custom. Converging
 * evidence this SPI-NOR/NAND controller has no populated flash chip on this
 * board revision: /proc/mtd is empty (header only, zero devices) and
 * /sys/class/mtd has zero entries on BOTH systems; /sys/bus/spi/devices only
 * ever shows spi2.0 (the already-documented, unrelated FACTORY_TEST_DEVICE
 * spidev placeholder) on stock, nothing SFC-related on either. The node's
 * own norflash@0 child defines a uboot/kernel/rootfs partition scheme that
 * doesn't match this board's real, extensively-verified eMMC-based OTA A/B
 * boot architecture (kernel/kernel2/rootfs/rootfs2/ota on mmcblk0) -
 * consistent with unmodified reference-design boilerplate for a board
 * variant that boots from SPI-NOR instead. Classification:
 * UNPOPULATED_REFERENCE_DESIGN_BLOCK - see docs/BOOT_WARNING_AUDIT.md.
 */
&sfc {
	status = "disabled";
	pinctrl-names = "default";
	pinctrl-0 = <&sfc_pe>;
	ingenic,sfc-init-frequency = <200000000>;
	ingenic,sfc-max-frequency = <400000000>;
	ingenic,use_ofpart_info  = /bits/ 8 <0>;
	ingenic,spiflash_param_offset = <0>;

	norflash@0 {
		partitions {
			compatible = "fixed-partitions";
			#address-cells = <1>;
			#size-cells = <1>;

			/* spi nor flash partition */
			uboot@0 {
				label = "uboot";
				reg = <0x0000000 0x40000>;
				/*read-only;*/
			};

			kernel@40000 {
				label = "kernel";
				reg = <0x40000 0x300000>;
			};

			rootfs@360000 {
				label = "rootfs";
				reg = <0x360000 0xca0000>;
			};
		};
	};

	nandflash@1 {
		partitions {
			compatible = "fixed-partitions";
			#address-cells = <1>;
			#size-cells = <1>;

			/* spi nand flash partition */
			partition@0 {
				label = "uboot";
				reg = <0x0000000 0x100000>;
				/*read-only;*/
			};

			partition@100000 {
				label = "kernel";
				reg = <0x100000 0x800000>;
			};

			partition@900000 {
				label = "rootfs";
				reg = <0x900000 0xf700000>;
			};
		};
	};

};

&spi0 {
	status = "disable";
	pinctrl-names = "default";
	pinctrl-0 = <&spi0_pb>;

	spi-max-frequency = <54000000>;
	num-cs = <2>;
	cs-gpios = <0>, <0>;
	/*cs-gpios = <&gpa 27 GPIO_ACTIVE_HIGH INGENIC_GPIO_NOBIAS>, <&gpa 27 GPIO_ACTIVE_HIGH INGENIC_GPIO_NOBIAS>;*/
	ingenic,chnl = <0>;
	ingenic,allow_cs_same = <1>;
	ingenic,bus_num = <0>;
	ingenic,has_dma_support = <0>;
	ingenic,spi-src-clk = <1>;/*0.ext; 1.ssi*/

	/* Add SPI interface device */
	spidev: spidev@0 {
		compatible = "rohm,dh2228fv";
		reg = <0>;
		spi-max-frequency = <10000000>;
	};
};

&dtrng {
	status = "okay";
};

&pwm {
	status = "okay";
	pinctrl-names = "default";
	pinctrl-0 = <&pwm1_pc>;
};

&otg {
	/* host-only product (NebulaOS DWC2 workstream, B1): the port only
	 * ever drives the camera hub and USB storage; no gadget/OTG role. */
	dr_mode = "host";
	device-using-dma = <1>;
	status = "okay";
};

&otg_phy {
	status = "okay";
	/*ingenic,id-dete-gpio = <&gpd 18 GPIO_ACTIVE_LOW INGENIC_GPIO_NOBIAS>; Shares pins with msc1*/
	ingenic,vbus-dete-gpio = <&gpd 17 GPIO_ACTIVE_LOW INGENIC_GPIO_NOBIAS>;
	/* OpenKE (2026-07-21, FIRMWARE.md sec 42): wrong pin - real, live-confirmed via stock's
	 * own decompiled DTB (vendor/device-backups/stock-live-device-tree.dtb): stock's real,
	 * working drvvbus-gpio is gpc pin 9 (raw value <0x07 0x09 0x01 0x00>, phandle 0x07 = gpc
	 * confirmed against stock's own gpio-bank phandle table), not gpe pin 22. Both our tree
	 * and stock's use the exact same driver here (compatible "ingenic,usbphy-x2000" /
	 * "ingenic,x2000-dwc2-hsotg" match on both sides, confirmed via stock's own live dmesg
	 * showing serial number "13500000.otg_new" - same modern driver, just not suffixed here
	 * since this tree only ever has the one variant) - this was never a "wrong driver"
	 * problem, just the wrong physical pin on the right node the whole time. */
	ingenic,drvvbus-gpio = <&gpc 9 GPIO_ACTIVE_HIGH INGENIC_GPIO_NOBIAS>;
};

/* 2026-07-23 (functional production-baseline mission, Phase 1/2): the entire PCM/ALSA
 * audio graph below is disabled - Phase 1 of this mission booted the exact stock Nebula
 * Pad firmware and found conclusive, converging evidence that stock never uses ALSA at
 * all, not merely that this specific board revision doesn't populate a speaker:
 *
 *   - stock dmesg: "ALSA device list: No soundcards found." - the ASoC card never even
 *     attempts to register, and none of icodec/as-baic/as-dsp/as-mixer/as-spdif/DMIC ever
 *     print a probe message (the only "sound"-adjacent dmesg hits are the unrelated video
 *     codec blocks, "13300000.felix vcodec"/"13200000.helix").
 *   - /proc/asound/cards: "--- no soundcards ---"; /proc/asound/pcm: empty; the only
 *     /proc/asound/devices entry is the generic ALSA sequencer timer (always present,
 *     card-independent) - and /dev/snd contains only that same "timer" node.
 *   - stock DOES ship a complete, real, carefully-tuned volume-control script
 *     (/usr/bin/audio_setting.sh, real dB-step arrays, `amixer -D hw:icodecsoundcard`,
 *     `alsactl store`) and a dedicated `audio-server` binary that references it - but
 *     `audio-server` is not running (ps shows nothing), is not started by any
 *     /etc/init.d/S* script, and stock's real, active production stack is Klipper +
 *     GuppyScreen (S55klipper_service, S56moonraker_service, S99guppyscreen) - the whole
 *     app-server/audio-server/display-server/master-server/web-server/wifi-server binary
 *     family is inactive legacy-reference code from an earlier internal architecture,
 *     present on the shared rootfs image but never wired into this product's own boot
 *     sequence. Its presence on disk is not evidence of use.
 *
 * This supersedes the 2026-07-23 (beeper/BAIC4 audio investigation) note that kept
 * as_be_baic/icodec enabled pending exactly this stock-evidence question - it's now
 * answered, negatively, for the whole subsystem, not just BAIC4. The previously-confirmed
 * real, independent PWM beeper (GPC-3/PWM channel 3, guppybeep, direct /dev/mem MMIO,
 * entirely bypassing ALSA/kernel-PWM-subsystem) is completely unaffected by any node below
 * and needs no audio component to keep working - see docs/BEEPER_CONTROL_PATH.md.
 *
 * GPIO 34/Speaker_en (previously classified UNKNOWN_REQUIRES_PCB_EVIDENCE, see
 * docs/PIN_OWNERSHIP_MAP.md) is resolved by this same disable: the `sound` node below was
 * its only live consumer, so the property is removed with it rather than left as a
 * request nothing will ever process.
 */
&as_platform {
	status = "disabled";
};

&as_virtual_fe {
	status = "disabled";
};

&as_fmtcov {
	status = "disabled";
};

&as_fe_dsp {
	status = "disabled";
};

&as_be_baic {
	status = "disabled";
};

&as_dmic {
	status = "disabled";
};

&as_aux_mixer {
	status = "disabled";
};

&as_spdif {
	status = "disabled";
};

&icodec {
	status = "disabled";
};

/ {

	extclk: extclk {
		clock-frequency = <24000000>;
	};

	gpio_keys: gpio_keys {
		   compatible = "gpio-keys";

		   power {
			   label = "Power";
			   linux,code = <KEY_POWER>;
			   gpios = <&gpe 31 GPIO_ACTIVE_LOW INGENIC_GPIO_NOBIAS>;
			   gpio-key,wakeup;
		   };
	   };

	/*
	 * gpd 21 bt wakeup host
	 * gpd 22 host wakeup bt
	 */
	bt_power {
		compatible = "ingenic,bt_power";
		ingenic,reg-on-gpio = <&gpd 20 GPIO_ACTIVE_HIGH INGENIC_GPIO_NOBIAS>;
		ingenic,wake-gpio = <&gpd 21 GPIO_ACTIVE_HIGH INGENIC_GPIO_NOBIAS>;
	};

	/* Functional production-baseline mission, Phase 2: disabled along with the rest of
	 * the PCM/ALSA graph above - see that comment block for the full stock-evidence
	 * rationale. Machine driver (halley5_v20.c) never probes; ingenic,spken-gpio (GPIO
	 * 34) removed with it, since this was its only live consumer. */
	sound {
		compatible = "ingenic,x2000-sound";
		ingenic,model = "halley5_v30";
		status = "disabled";
	};

	spi_gpio {
		status = "disable";
		compatible = "spi-gpio";
		#address-cells = <1>;
		#size-cells = <0>;

		gpio-sck = <&gpb 28 GPIO_ACTIVE_LOW INGENIC_GPIO_NOBIAS>;
		gpio-miso = <&gpb 29 GPIO_ACTIVE_LOW INGENIC_GPIO_NOBIAS>;
		gpio-mosi = <&gpb 30 GPIO_ACTIVE_LOW INGENIC_GPIO_NOBIAS>;
		cs-gpios = <&gpb 31 GPIO_ACTIVE_LOW INGENIC_GPIO_NOBIAS>;
		num-chipselects = <1>;

		/* clients */
		spidev1: spidev1@0 {
			status = "disable";
			compatible = "rohm,dh2228fv";
			reg = <0>;
			spi-max-frequency = <500000>;
		};
	};
};


/* Board Sleep GPIO configuration. */
/* <0 1 2 3 .... 31>, set one of the pin to state.*/
&gpa {
	ingenic,gpio-sleep-pullup 	= <>;
	ingenic,gpio-sleep-pulldown 	= <>;
	ingenic,gpio-sleep-hiz		= <>;
	ingenic,gpio-sleep-low		= <>;
	ingenic,gpio-sleep-high		= <>;
	ingenic,gpio-sleep-func0    = <>;
	ingenic,gpio-sleep-func1    = <>;
	ingenic,gpio-sleep-func2    = <>;
	ingenic,gpio-sleep-func3    = <>;
};

&gpb {
	ingenic,gpio-sleep-pullup 	= <>;
	ingenic,gpio-sleep-pulldown 	= <>;
	ingenic,gpio-sleep-hiz		= <>;
	ingenic,gpio-sleep-low		= <>;
	ingenic,gpio-sleep-high		= <>;
	ingenic,gpio-sleep-func0    = <>;
	ingenic,gpio-sleep-func1    = <>;
	ingenic,gpio-sleep-func2    = <>;
	ingenic,gpio-sleep-func3    = <>;
};

&gpc {
	ingenic,gpio-sleep-pullup 	= <>;
	ingenic,gpio-sleep-pulldown 	= <>;
	ingenic,gpio-sleep-hiz		= <>;
	ingenic,gpio-sleep-low		= <>;
	ingenic,gpio-sleep-high		= <>;
	ingenic,gpio-sleep-func0    = <>;
	ingenic,gpio-sleep-func1    = <>;
	ingenic,gpio-sleep-func2    = <>;
	ingenic,gpio-sleep-func3    = <>;
};

&gpd {
	ingenic,gpio-sleep-pullup 	= <>;
	ingenic,gpio-sleep-pulldown 	= <>;
	ingenic,gpio-sleep-hiz		= <>;
	ingenic,gpio-sleep-low		= <>;
	ingenic,gpio-sleep-high		= <>;
	ingenic,gpio-sleep-func0    = <>;
	ingenic,gpio-sleep-func1    = <>;
	ingenic,gpio-sleep-func2    = <>;
	ingenic,gpio-sleep-func3    = <>;
};

/* 2026-07-23 (final cleanup mission, Phase 4): disabled - both MScaler
 * instances register as v4l2_subdev components (mscaler.c), meant to be part
 * of the SoC's own internal ISP/camera pipeline, not directly opened as a
 * /dev/videoN capture device the way this project's actual, confirmed
 * working camera path (a USB UVC webcam via ustreamer) is. Zero userspace
 * consumer anywhere on this rootfs references "mscaler" or VIDIOC ioctls
 * against it (grepped live), and /sys/class/video4linux carries no
 * mscaler-specific node. "IRQ index 0 not found" was already a driver-level
 * dev_warn (not dev_err - probe continues regardless), and rotation/H.264
 * encode/decode (the SoC blocks actually confirmed working) are entirely
 * separate devices unaffected by this. Classification:
 * UNUSED_REFERENCE_DESIGN_BLOCK - see docs/BOOT_WARNING_AUDIT.md.
 */
&mscaler0 {
	status = "disabled";
};

&mscaler1 {
	status = "disabled";
};
